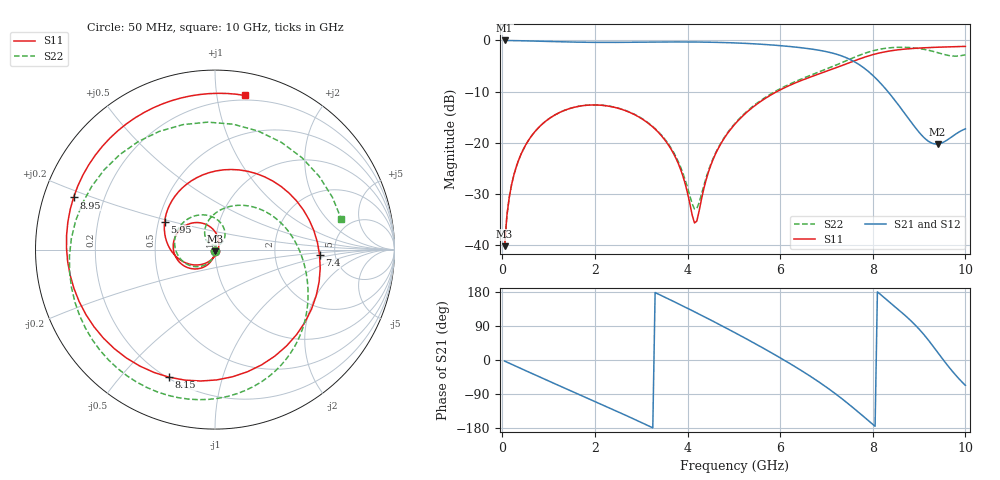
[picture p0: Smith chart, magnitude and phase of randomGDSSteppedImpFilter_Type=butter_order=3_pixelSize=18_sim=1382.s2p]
! freq	dB(S11)	phase(S11)	dB(S12)	phase(S12)
!  dB(S21)	phase(S21)	dB(S22)	phase(S22)
!S-par simulation data
#  GHz  S  DB  R 50
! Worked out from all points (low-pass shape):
!   200 points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, 50 MHz to 10 GHz, reference 50 ohm
!   highest |S21| = 0.00 dB at 50 MHz (marker M1); lowest = -20.2 dB at 9.4 GHz (marker M2)
!   |S21| within 3 dB of the highest: start of sweep to 7.321 GHz
!   lowest |S11| = -40.2 dB at 50 MHz (marker M3), VSWR 1.02, Z = 50 - j0.977 ohm
!   |S11| at or under -10 dB: start of sweep to 5.929 GHz
!   |S22| runs from -40.2 to -1.3 dB; largest |S21 - S12| = 0
!   S11 on the Smith chart (normalised r, x): 50 MHz: 1.00, -0.02; 5.95 GHz: 0.54, +0.18; 7.4 GHz: 3.77, -0.35; 8.15 GHz: 0.21, -0.68; 8.95 GHz: 0.09, +0.18; 10 GHz: 0.16, +1.20
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0.05  -40.19 -92.3  -0.00 -2.8  -0.00 -2.8  -40.19 -92.7
0.2  -28.20 -100.5  -0.02 -11.2  -0.02 -11.2  -28.20 -102.1
0.5  -20.50 -116.3  -0.08 -27.9  -0.08 -27.9  -20.51 -120.3
1.15  -14.48 -149.4  -0.23 -63.5  -0.23 -63.5  -14.48 -159.0
1.75  -12.73 -178.9  -0.35 -95.9  -0.35 -95.9  -12.72 165.6
2.7  -13.86 135.0  -0.36 -147.9  -0.36 -147.9  -13.81 108.3
3.4  -18.24 99.1  -0.30 172.2  -0.30 172.2  -18.12 65.4
3.85  -25.18 68.5  -0.29 145.5  -0.29 145.5  -24.73 45.5
4.15  -35.65 -8.9  -0.30 127.2  -0.30 127.2  -32.93 81.5
4.55  -23.29 -114.4  -0.36 102.4  -0.36 102.4  -23.10 132.1
5.05  -16.07 -148.2  -0.49 70.3  -0.49 70.3  -15.94 104.8
5.95  -9.90 151.3  -0.98 9.4  -0.98 9.4  -9.67 45.0
6.7  -6.99 83.9  -1.71 -46.8  -1.71 -46.8  -6.66 1.0
7.05  -5.86 43.6  -2.29 -76.2  -2.29 -76.2  -5.40 -17.3
7.4  -4.68 -3.0  -3.27 -108.6  -3.27 -108.6  -4.06 -35.9
7.7  -3.66 -46.2  -4.68 -138.6  -4.68 -138.6  -2.93 -53.7
8.15  -2.44 -109.7  -8.18 174.7  -8.18 174.7  -1.72 -84.9
8.35  -2.08 -135.4  -10.25 154.1  -10.25 154.1  -1.45 -100.1
8.95  -1.52 159.8  -17.38 88.1  -17.38 88.1  -1.52 -153.9
9.4  -1.32 121.2  -20.23 20.3  -20.23 20.3  -2.38 144.2
9.7  -1.24 99.0  -18.87 -27.0  -18.87 -27.0  -3.03 81.7
10  -1.16 79.1  -17.27 -66.9  -17.27 -66.9  -2.80 13.4
